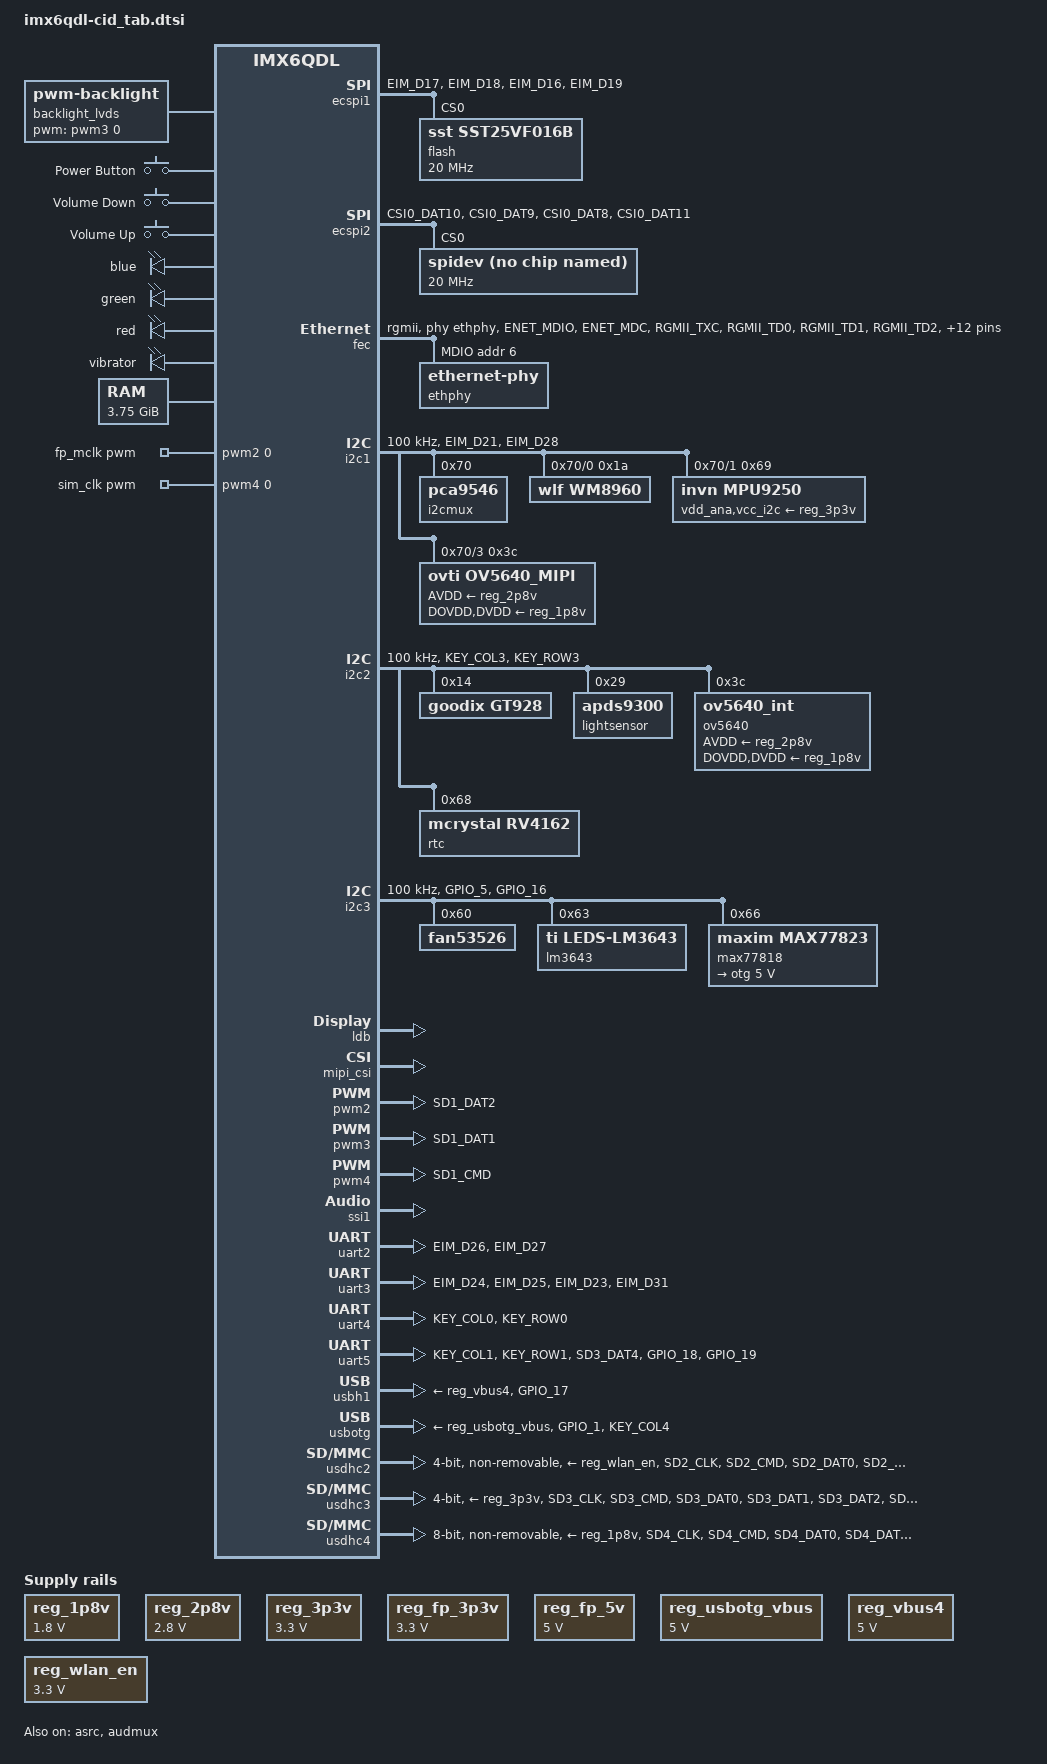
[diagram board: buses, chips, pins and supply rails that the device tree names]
/*
 * Copyright 2017 Boundary Devices, Inc.
 *
 * The code contained herein is licensed under the GNU General Public
 * License. You may obtain a copy of the GNU General Public License
 * Version 2 or later at the following locations:
 *
 * http://www.opensource.org/licenses/gpl-license.html
 * http://www.gnu.org/copyleft/gpl.html
 */
#include <dt-bindings/gpio/gpio.h>
#include <dt-bindings/input/input.h>

&iomuxc {
	pinctrl-names = "default";
	pinctrl-0 = <&pinctrl_hog>;

	iomuxc_imx6q_cid_tab: iomuxc-imx6q-cid_tabgrp {
		status = "okay";
	};
};

&iomuxc_imx6q_cid_tab {

	/* Goes to the WM8960 */
	pinctrl_audmux3: audmux3grp {
		fsl,pins = <
			MX6QDL_PAD_CSI0_DAT4__AUD3_TXC		0x130b0
			MX6QDL_PAD_CSI0_DAT5__AUD3_TXD		0x110b0
			MX6QDL_PAD_CSI0_DAT6__AUD3_TXFS		0x130b0
			MX6QDL_PAD_CSI0_DAT7__AUD3_RXD		0x130b0
		>;
	};

	/* Goes to the WWAN USB Modem */
	pinctrl_audmux4: audmux4grp {
		fsl,pins = <
			MX6QDL_PAD_DISP0_DAT20__AUD4_TXC	0x130b0
			MX6QDL_PAD_DISP0_DAT21__AUD4_TXD	0x110b0
			MX6QDL_PAD_DISP0_DAT22__AUD4_TXFS	0x130b0
			MX6QDL_PAD_DISP0_DAT23__AUD4_RXD	0x130b0
		>;
	};

	pinctrl_backlight_lvds: backlight-lvdsgrp {
		fsl,pins = <
#define GP_BACKLIGHT_LVDS_EN	<&gpio1 2 GPIO_ACTIVE_HIGH>
			MX6QDL_PAD_GPIO_2__GPIO1_IO02		0x030b0
#define GP_BACKLIGHT_LVDS_PWM1	<&gpio1 21 GPIO_ACTIVE_HIGH>
			MX6QDL_PAD_SD1_DAT3__GPIO1_IO21		0x030b0
#define GP_LVDS_LED_EN		<&gpio4 19 GPIO_ACTIVE_HIGH>
			MX6QDL_PAD_DI0_PIN3__GPIO4_IO19		0x030b0
#define GP_LVDS_BIST		<&gpio5 9 GPIO_ACTIVE_HIGH>
			MX6QDL_PAD_DISP0_DAT15__GPIO5_IO09	0x030b0
		>;
	};

	pinctrl_bt_rfkill: bt-rfkillgrp {
		fsl,pins = <
#define GP_BT_RFKILL_RESET	<&gpio6 16 GPIO_ACTIVE_LOW>
			MX6QDL_PAD_NANDF_CS3__GPIO6_IO16	0x030b0
		>;
	};

	pinctrl_ecspi1: ecspi1grp {
		fsl,pins = <
			MX6QDL_PAD_EIM_D17__ECSPI1_MISO		0x100b1
			MX6QDL_PAD_EIM_D18__ECSPI1_MOSI		0x100b1
			MX6QDL_PAD_EIM_D16__ECSPI1_SCLK		0x000b1
#define GP_ECSPI1_NOR_CS	<&gpio3 19 GPIO_ACTIVE_LOW>
			MX6QDL_PAD_EIM_D19__GPIO3_IO19		0x0b0b1
		>;
	};

	pinctrl_ecspi2: ecspi2grp {
		fsl,pins = <
			MX6QDL_PAD_CSI0_DAT10__ECSPI2_MISO	0x100b1
			MX6QDL_PAD_CSI0_DAT9__ECSPI2_MOSI	0x100b1
			MX6QDL_PAD_CSI0_DAT8__ECSPI2_SCLK	0x000b1
#define GP_ECSPI2_CS		<&gpio5 29 GPIO_ACTIVE_LOW>
			MX6QDL_PAD_CSI0_DAT11__GPIO5_IO29	0x0b0b1
		>;
	};

	pinctrl_enet: enetgrp {
		fsl,pins = <
			MX6QDL_PAD_ENET_MDIO__ENET_MDIO		0x1b0b0
			MX6QDL_PAD_ENET_MDC__ENET_MDC		0x1b0b0
			MX6QDL_PAD_RGMII_TXC__RGMII_TXC		0x100b0
			MX6QDL_PAD_RGMII_TD0__RGMII_TD0		0x100b0
			MX6QDL_PAD_RGMII_TD1__RGMII_TD1		0x100b0
			MX6QDL_PAD_RGMII_TD2__RGMII_TD2		0x100b0
			MX6QDL_PAD_RGMII_TD3__RGMII_TD3		0x100b0
			MX6QDL_PAD_RGMII_TX_CTL__RGMII_TX_CTL	0x100b0
			MX6QDL_PAD_ENET_REF_CLK__ENET_TX_CLK	0x100b0
			MX6QDL_PAD_RGMII_RXC__RGMII_RXC		0x1b0b0
			MX6QDL_PAD_RGMII_RD0__RGMII_RD0		0x1b0b0
			MX6QDL_PAD_RGMII_RD1__RGMII_RD1		0x1b0b0
			MX6QDL_PAD_RGMII_RD2__RGMII_RD2		0x1b0b0
			MX6QDL_PAD_RGMII_RD3__RGMII_RD3		0x1b0b0
			MX6QDL_PAD_RGMII_RX_CTL__RGMII_RX_CTL	0x1b0b0
#define GP_RGMII_PHY_RESET	<&gpio1 27 GPIO_ACTIVE_LOW>
			MX6QDL_PAD_ENET_RXD0__GPIO1_IO27	0x030b0
#define GPIRQ_ENET_PHY		<&gpio1 28 IRQ_TYPE_LEVEL_LOW>
			MX6QDL_PAD_ENET_TX_EN__GPIO1_IO28	0x1b0b0
#define GPIRQ_ENET		<&gpio1 6 IRQ_TYPE_LEVEL_HIGH>
			MX6QDL_PAD_GPIO_6__ENET_IRQ		0x000b1
		>;
	};

	pinctrl_gpio_keys: gpio-keysgrp {
		fsl,pins = <
#define GP_GPIOKEY_POWER	<&gpio3 1 GPIO_ACTIVE_LOW>
			MX6QDL_PAD_EIM_DA1__GPIO3_IO01		0x1b0b0
#define GP_GPIOKEY_VOL_DN	<&gpio3 5 GPIO_ACTIVE_LOW>
			MX6QDL_PAD_EIM_DA5__GPIO3_IO05		0x1b0b0
#define GP_GPIOKEY_VOL_UP	<&gpio3 6 GPIO_ACTIVE_LOW>
			MX6QDL_PAD_EIM_DA6__GPIO3_IO06		0x1b0b0
		>;
	};

	pinctrl_hog: hoggrp {
		fsl,pins = <
#define GP_GPIO_A		<&gpio3 20 GPIO_ACTIVE_HIGH>
			MX6QDL_PAD_EIM_D20__GPIO3_IO20		0x1b0b0
#define GP_GPIO_B		<&gpio4 21 GPIO_ACTIVE_HIGH>
			MX6QDL_PAD_DISP0_DAT0__GPIO4_IO21	0x1b0b0
			/* WWAN 3.7V Regulator */
#define GP_3P7_EN		<&gpio5 11 GPIO_ACTIVE_HIGH>
			MX6QDL_PAD_DISP0_DAT17__GPIO5_IO11	0x1b0b0
#define GP_3P7_BYPASS_EN	<&gpio5 0 GPIO_ACTIVE_HIGH>
			MX6QDL_PAD_EIM_WAIT__GPIO5_IO00		0x1b0b0

#define GPIRQ_TAMPER		<&gpio4 18 GPIO_ACTIVE_LOW>
			MX6QDL_PAD_DI0_PIN2__GPIO4_IO18		0x1b0b0
			/* TODO Wireless control pins */
#define GP_BT_CLK_REQ		<&gpio6 8 GPIO_ACTIVE_LOW>
			MX6QDL_PAD_NANDF_ALE__GPIO6_IO08	0x1b0b0
#define GP_BT_HOST_WAKE		<&gpio6 7 GPIO_ACTIVE_LOW>
			MX6QDL_PAD_NANDF_CLE__GPIO6_IO07	0x1b0b0
#define GP_WIFI_QOW		<&gpio2 3 GPIO_ACTIVE_LOW>
			MX6QDL_PAD_NANDF_D3__GPIO2_IO03		0x1b0b0
			/* TP68 */
			MX6QDL_PAD_NANDF_D0__GPIO2_IO00		0x1b0b0	
			/* TP71 */
			MX6QDL_PAD_ENET_TXD0__GPIO1_IO30	0x1b0b0
			/* TP72 */
			MX6QDL_PAD_NANDF_D4__GPIO2_IO04		0x1b0b0
			/* TP73 */
			MX6QDL_PAD_NANDF_D2__GPIO2_IO02		0x1b0b0
			/* TP74 */
			MX6QDL_PAD_NANDF_D7__GPIO2_IO07		0x1b0b0
			/* TP78 */
			MX6QDL_PAD_NANDF_WP_B__GPIO6_IO09	0x1b0b0
			/* TP85 */
			MX6QDL_PAD_GPIO_9__GPIO1_IO09		0x1b0b0
			/* TP86 */
			MX6QDL_PAD_DISP0_DAT10__GPIO4_IO31	0x1b0b0
			/* TP90 */
			MX6QDL_PAD_DI0_PIN15__GPIO4_IO17	0x1b0b0
			/* TP91 */
			MX6QDL_PAD_SD1_DAT0__GPIO1_IO16		0x1b0b0
			/* TP92 */
			MX6QDL_PAD_DI0_PIN4__GPIO4_IO20		0x1b0b0
			/* TP97 */
			MX6QDL_PAD_EIM_EB2__GPIO2_IO30		0x1b0b0
			/* TP104 */
			MX6QDL_PAD_EIM_DA7__GPIO3_IO07		0x1b0b0
			/* TP131 */
			MX6QDL_PAD_EIM_A25__GPIO5_IO02		0x1b0b0
			/* TP_R368 */
			MX6QDL_PAD_EIM_D30__GPIO3_IO30		0x1b0b0
		>;
	};

	pinctrl_i2c1: i2c1grp {
		fsl,pins = <
			MX6QDL_PAD_EIM_D21__I2C1_SCL		0x4001b8b1
			MX6QDL_PAD_EIM_D28__I2C1_SDA		0x4001b8b1
		>;
	};

	pinctrl_i2c1_pca9546: i2c1_pca9546grp {
		fsl,pins = <
			/* Select addr 0x70 for pca9546 */
			MX6QDL_PAD_EIM_DA15__GPIO3_IO15		0x030b0
			MX6QDL_PAD_EIM_DA14__GPIO3_IO14		0x030b0
#define GP_I2C1MUX_RESET	<&gpio3 13 GPIO_ACTIVE_LOW>
			MX6QDL_PAD_EIM_DA13__GPIO3_IO13		0x030b0
		>;
	};

	pinctrl_i2c1a_wm8960: i2c1a-wm8960grp {
		fsl,pins = <
			MX6QDL_PAD_GPIO_0__CCM_CLKO1		0x000b0
#define GP_WM8960_MIC_DET		<&gpio7 8 GPIO_ACTIVE_LOW>
			MX6QDL_PAD_SD3_RST__GPIO7_IO08		0x1b0b0
#define GP_WM8960_HP_DET		<&gpio4 10 GPIO_ACTIVE_LOW>
			MX6QDL_PAD_KEY_COL2__GPIO4_IO10		0x1b0b0
		>;
	};

	pinctrl_i2c1b_mpu9250: i2c1b_mpu9250grp {
		fsl,pins = <
#define GPIRQ_MPU9250_INT	<&gpio6 11 IRQ_TYPE_LEVEL_LOW>
			MX6QDL_PAD_NANDF_CS0__GPIO6_IO11	0x1b0b0
		>;
	};

	pinctrl_i2c1c_finger_sensor: i2c1-finger-sensorgrp {
		fsl,pins = <
			MX6QDL_PAD_CSI0_DAT12__IPU1_CSI0_DATA12		0x1b0b0
			MX6QDL_PAD_CSI0_DAT13__IPU1_CSI0_DATA13		0x1b0b0
			MX6QDL_PAD_CSI0_DAT14__IPU1_CSI0_DATA14		0x1b0b0
			MX6QDL_PAD_CSI0_DAT15__IPU1_CSI0_DATA15		0x1b0b0
			MX6QDL_PAD_CSI0_DAT16__IPU1_CSI0_DATA16		0x1b0b0
			MX6QDL_PAD_CSI0_DAT17__IPU1_CSI0_DATA17		0x1b0b0
			MX6QDL_PAD_CSI0_DAT18__IPU1_CSI0_DATA18		0x1b0b0
			MX6QDL_PAD_CSI0_DAT19__IPU1_CSI0_DATA19		0x1b0b0
			MX6QDL_PAD_CSI0_DATA_EN__IPU1_CSI0_DATA_EN	0x1b0b0
			MX6QDL_PAD_CSI0_PIXCLK__IPU1_CSI0_PIXCLK	0x1b0b0
			MX6QDL_PAD_CSI0_MCLK__IPU1_CSI0_HSYNC		0x1b0b0
			MX6QDL_PAD_CSI0_VSYNC__IPU1_CSI0_VSYNC		0x1b0b0
#define GP_FP_RESET_N	<&gpio1 8 GPIO_ACTIVE_LOW>
			MX6QDL_PAD_GPIO_8__GPIO1_IO08			0x0b0b0
#define GP_FP_SENSOR_STAT	<&gpio2 27 GPIO_ACTIVE_HIGH>
			MX6QDL_PAD_EIM_LBA__GPIO2_IO27			0x0b0b0
#define GP_FP_LE_EN		<&gpio2 26 GPIO_ACTIVE_HIGH>
			MX6QDL_PAD_EIM_RW__GPIO2_IO26			0x0b0b0
		>;
	};

	pinctrl_i2c1d_ov5640_mipi: i2c1d-ov5640-mipigrp {
		fsl,pins = <
			MX6QDL_PAD_GPIO_3__CCM_CLKO2		0x000b0
#define GP_OV5640_MIPI_POWER_DOWN	<&gpio6 10 GPIO_ACTIVE_HIGH>
			MX6QDL_PAD_NANDF_RB0__GPIO6_IO10	0x0b0b0
#define GP_OV5640_MIPI_RESET		<&gpio2 5 GPIO_ACTIVE_LOW>
			MX6QDL_PAD_NANDF_D5__GPIO2_IO05		0x030b0
		>;
	};

	pinctrl_i2c2: i2c2grp {
		fsl,pins = <
			MX6QDL_PAD_KEY_COL3__I2C2_SCL		0x4001b8b1
			MX6QDL_PAD_KEY_ROW3__I2C2_SDA		0x4001b8b1
		>;
	};

	pinctrl_i2c2_gt928: i2c2_gt928grp {
		fsl,pins = <
#define GPIRQ_GT928		<&gpio4 15 IRQ_TYPE_LEVEL_HIGH>
#define GP_GT928_IRQ		<&gpio4 15 GPIO_ACTIVE_HIGH>
			MX6QDL_PAD_KEY_ROW4__GPIO4_IO15		0x030b0
#define GP_GT928_RESET		<&gpio1 7 GPIO_ACTIVE_HIGH>
			MX6QDL_PAD_GPIO_7__GPIO1_IO07		0x030b0
		>;
	};

	pinctrl_i2c2_lightsensor: i2c2-lightsensorgrp {
		fsl,pins = <
#define GPIRQ_LIGHTSENSOR	<&gpio3 0 IRQ_TYPE_LEVEL_HIGH>
			MX6QDL_PAD_EIM_DA0__GPIO3_IO00		0x1b0b0
		>;
	};

	pinctrl_i2c2_rtc: i2c2-rtcgrp {
		fsl,pins = <
#define GPIRQ_RTC	<&gpio1 4 IRQ_TYPE_LEVEL_LOW>
			MX6QDL_PAD_GPIO_4__GPIO1_IO04		0x1b0b0
		>;
	};

	pinctrl_i2c3: i2c3grp {
		fsl,pins = <
			MX6QDL_PAD_GPIO_5__I2C3_SCL		0x4001b8b1
			MX6QDL_PAD_GPIO_16__I2C3_SDA		0x4001b8b1
		>;
	};

	pinctrl_i2c3_lm3643: i2c3_lm3643grp {
		fsl,pins = <
#define GP_FLASH_STROBE		<&gpio2 31 GPIO_ACTIVE_HIGH>
			MX6QDL_PAD_EIM_EB3__GPIO2_IO31		0x0b0b0
#define GP_FLASH_HW_EN		<&gpio5 6 GPIO_ACTIVE_HIGH>
			MX6QDL_PAD_DISP0_DAT12__GPIO5_IO06	0x0b0b0
#define GP_TORCH_EN		<&gpio5 5 GPIO_ACTIVE_HIGH>
			MX6QDL_PAD_DISP0_DAT11__GPIO5_IO05	0x0b0b0
#define GP_FLASH_TX		<&gpio4 30 GPIO_ACTIVE_HIGH>
			MX6QDL_PAD_DISP0_DAT9__GPIO4_IO30	0x0b0b0
		>;
	};

	pinctrl_i2c3_max77818: i2c3_max77818grp {
		fsl,pins = <
#define GPIRQ_MAX77818_INOK	<&gpio5 13 IRQ_TYPE_LEVEL_LOW>
			MX6QDL_PAD_DISP0_DAT19__GPIO5_IO13	0x1b0b0
#define GPIRQ_MAX77818_WCINOK	<&gpio3 2 IRQ_TYPE_LEVEL_LOW>
			MX6QDL_PAD_EIM_DA2__GPIO3_IO02		0x1b0b0
#define GPIRQ_MAX77818		<&gpio3 4 IRQ_TYPE_LEVEL_LOW>
			MX6QDL_PAD_EIM_DA4__GPIO3_IO04		0x1b0b0
		>;
	};

	pinctrl_leds: ledsgrp {
		fsl,pins = <
#define GP_LED_VIBRATOR		<&gpio5 8 GPIO_ACTIVE_HIGH>
			MX6QDL_PAD_DISP0_DAT14__GPIO5_IO08	0x030b0
			/* Blue Led */
#define GP_STAT_LED1		<&gpio4 26 GPIO_ACTIVE_LOW>
			MX6QDL_PAD_DISP0_DAT5__GPIO4_IO26	0x1b0b0
			/* Green Led */
#define GP_STAT_LED2		<&gpio4 25 GPIO_ACTIVE_LOW>
			MX6QDL_PAD_DISP0_DAT4__GPIO4_IO25	0x1b0b0
			/* Red Led */
#define GP_STAT_LED3		<&gpio4 27 GPIO_ACTIVE_LOW>
			MX6QDL_PAD_DISP0_DAT6__GPIO4_IO27	0x1b0b0
		>;
	};

	/* Fingerprint MCLK */
	pinctrl_pwm2: pwm2grp {
		fsl,pins = <
			MX6QDL_PAD_SD1_DAT2__PWM2_OUT		0x030b1
		>;
	};

	/* Backlight (LVDS display)*/
	pinctrl_pwm3: pwm3grp {
		fsl,pins = <
			MX6QDL_PAD_SD1_DAT1__PWM3_OUT		0x030b0
		>;
	};

	pinctrl_pwm4: pwm4grp {
		fsl,pins = <
			MX6QDL_PAD_SD1_CMD__PWM4_OUT		0x030b1
		>;
	};

	pinctrl_reg_2p8v: reg-2p8vgrp {
		fsl,pins = <
#define GP_REG_2P8V_EN	<&gpio3 9 GPIO_ACTIVE_HIGH>
			MX6QDL_PAD_EIM_DA9__GPIO3_IO09		0x030b0
		>;
	};

	pinctrl_reg_fp_3p3v: reg-fp-3p3grp {
		fsl,pins = <
#define GP_REG_FP_3P3V_EN	<&gpio3 29 GPIO_ACTIVE_HIGH>
			MX6QDL_PAD_EIM_D29__GPIO3_IO29		0x030b0
		>;
	};

	pinctrl_reg_fp_5v: reg-fp-5vgrp {
		fsl,pins = <
#define GP_REG_FP_5V_EN	<&gpio6 31 GPIO_ACTIVE_HIGH>
			MX6QDL_PAD_EIM_BCLK__GPIO6_IO31		0x030b0
		>;
	};

	pinctrl_reg_usbotg_vbus: reg-usbotg-vbusgrp {
		fsl,pins = <
#define GP_REG_USBOTG	<&gpio3 22 GPIO_ACTIVE_HIGH>
			MX6QDL_PAD_EIM_D22__GPIO3_IO22		0x030b0
		>;
	};

	pinctrl_reg_vbus4: reg-vbus4grp {
		fsl,pins = <
#define GP_REG_VBUS4	<&gpio4 11 GPIO_ACTIVE_HIGH>
			MX6QDL_PAD_KEY_ROW2__GPIO4_IO11		0x030b0
		>;
	};

	pinctrl_reg_wlan_en: reg-wlan-engrp {
		fsl,pins = <
#define GP_REG_WLAN_EN	<&gpio6 15 GPIO_ACTIVE_HIGH>
			MX6QDL_PAD_NANDF_CS2__GPIO6_IO15	0x030b0
		>;
	};

	pinctrl_uart1: uart1grp {
		fsl,pins = <
			MX6QDL_PAD_SD3_DAT7__UART1_TX_DATA	0x1b0b1
			MX6QDL_PAD_SD3_DAT6__UART1_RX_DATA	0x1b0b1
		>;
	};

	pinctrl_uart2: uart2grp {
		fsl,pins = <
			MX6QDL_PAD_EIM_D26__UART2_TX_DATA	0x1b0b1
			MX6QDL_PAD_EIM_D27__UART2_RX_DATA	0x1b0b1
		>;
	};

	pinctrl_uart3: uart3grp {
		fsl,pins = <
			MX6QDL_PAD_EIM_D24__UART3_TX_DATA	0x1b0b1
			MX6QDL_PAD_EIM_D25__UART3_RX_DATA	0x1b0b1
			MX6QDL_PAD_EIM_D23__UART3_CTS_B		0x1b0b1
			MX6QDL_PAD_EIM_D31__UART3_RTS_B		0x1b0b1
		>;
	};

	pinctrl_uart4: uart4grp {
		fsl,pins = <
			MX6QDL_PAD_KEY_COL0__UART4_TX_DATA	0x1b0b1
			MX6QDL_PAD_KEY_ROW0__UART4_RX_DATA	0x1b0b1
		>;
	};

	pinctrl_uart5: uart5grp {
		fsl,pins = <
			MX6QDL_PAD_KEY_COL1__UART5_TX_DATA	0x1b0b1
			MX6QDL_PAD_KEY_ROW1__UART5_RX_DATA	0x1b0b1
			/* GPS - MAX-7W */
#define GP_GPS_HEARTBEAT	<&gpio7 1 GPIO_ACTIVE_HIGH>
			MX6QDL_PAD_SD3_DAT4__GPIO7_IO01		0x1b0b0
#define GP_GPS_INT		<&gpio7 13 GPIO_ACTIVE_LOW>
			MX6QDL_PAD_GPIO_18__GPIO7_IO13		0x0b0b0
#define GP_GPS_RESET		<&gpio4 5 GPIO_ACTIVE_HIGH>
			MX6QDL_PAD_GPIO_19__GPIO4_IO05		0x030b0
		>;
	};

	pinctrl_usbh1: usbh1grp {
		fsl,pins = <
#define GP_USBH1_HUB_RESET	<&gpio7 12 GPIO_ACTIVE_LOW>
			MX6QDL_PAD_GPIO_17__GPIO7_IO12		0x030b0
		>;
	};

	pinctrl_usbotg: usbotggrp {
		fsl,pins = <
			MX6QDL_PAD_GPIO_1__USB_OTG_ID		0x17059
			MX6QDL_PAD_KEY_COL4__USB_OTG_OC		0x130b0
		>;
	};

	/* Wifi */
	pinctrl_usdhc2: usdhc2grp {
		fsl,pins = <
			MX6QDL_PAD_SD2_CLK__SD2_CLK		0x10071
			MX6QDL_PAD_SD2_CMD__SD2_CMD		0x17071
			MX6QDL_PAD_SD2_DAT0__SD2_DATA0		0x17071
			MX6QDL_PAD_SD2_DAT1__SD2_DATA1		0x17071
			MX6QDL_PAD_SD2_DAT2__SD2_DATA2		0x17071
			MX6QDL_PAD_SD2_DAT3__SD2_DATA3		0x17071
#define GPIRQ_WLAN	<&gpio6 14 IRQ_TYPE_LEVEL_HIGH>
			MX6QDL_PAD_NANDF_CS1__GPIO6_IO14	0x100b0
#define GP_WIFI_WAKE	<&gpio2 1 GPIO_ACTIVE_HIGH>
			MX6QDL_PAD_NANDF_D1__GPIO2_IO01		0x1b0b0
			MX6QDL_PAD_SD1_CLK__OSC32K_32K_OUT	0x000b0		/* slow clock */
		>;
	};

	pinctrl_usdhc2_100mhz: usdhc2grp-100mhz {
		fsl,pins = <
			MX6QDL_PAD_SD2_CLK__SD2_CLK		0x100B9
			MX6QDL_PAD_SD2_CMD__SD2_CMD		0x170B9
			MX6QDL_PAD_SD2_DAT0__SD2_DATA0		0x170B9
			MX6QDL_PAD_SD2_DAT1__SD2_DATA1 		0x170B9
			MX6QDL_PAD_SD2_DAT2__SD2_DATA2 		0x170B9
			MX6QDL_PAD_SD2_DAT3__SD2_DATA3 		0x170B9
		>;
	};

	pinctrl_usdhc2_200mhz: usdhc2grp-200mhz {
		fsl,pins = <
			MX6QDL_PAD_SD2_CLK__SD2_CLK 		0x100F9
			MX6QDL_PAD_SD2_CMD__SD2_CMD		0x170F9
			MX6QDL_PAD_SD2_DAT0__SD2_DATA0		0x170F9
			MX6QDL_PAD_SD2_DAT1__SD2_DATA1 		0x170F9
			MX6QDL_PAD_SD2_DAT2__SD2_DATA2 		0x170F9
			MX6QDL_PAD_SD2_DAT3__SD2_DATA3 		0x170F9
		>;
	};

	pinctrl_usdhc3: usdhc3grp {
		fsl,pins = <
			MX6QDL_PAD_SD3_CLK__SD3_CLK		0x10059
			MX6QDL_PAD_SD3_CMD__SD3_CMD		0x17059
			MX6QDL_PAD_SD3_DAT0__SD3_DATA0		0x17059
			MX6QDL_PAD_SD3_DAT1__SD3_DATA1		0x17059
			MX6QDL_PAD_SD3_DAT2__SD3_DATA2		0x17059
			MX6QDL_PAD_SD3_DAT3__SD3_DATA3		0x17059
#define GP_USDHC3_CD	<&gpio7 0 GPIO_ACTIVE_LOW>
			MX6QDL_PAD_SD3_DAT5__GPIO7_IO00		0x1b0b0
		>;
	};

	pinctrl_usdhc4: usdhc4grp {
		fsl,pins = <
			MX6QDL_PAD_SD4_CLK__SD4_CLK		0x10059
			MX6QDL_PAD_SD4_CMD__SD4_CMD		0x17059
			MX6QDL_PAD_SD4_DAT0__SD4_DATA0		0x17059
			MX6QDL_PAD_SD4_DAT1__SD4_DATA1		0x17059
			MX6QDL_PAD_SD4_DAT2__SD4_DATA2		0x17059
			MX6QDL_PAD_SD4_DAT3__SD4_DATA3		0x17059
			MX6QDL_PAD_SD4_DAT4__SD4_DATA4		0x17059
			MX6QDL_PAD_SD4_DAT5__SD4_DATA5		0x17059
			MX6QDL_PAD_SD4_DAT6__SD4_DATA6		0x17059
			MX6QDL_PAD_SD4_DAT7__SD4_DATA7		0x17059
#define GP_EMMC_RESET		<&gpio2 6 GPIO_ACTIVE_LOW>
			MX6QDL_PAD_NANDF_D6__GPIO2_IO06		0x1b0b0
		>;
	};

	pinctrl_wwan_rfkill: wwan_rfkillgrp {
		fsl,pins = <
			/* HL7588 - Modem pins */
#define GP_MODEM_RESET		<&gpio4 23 GPIO_ACTIVE_LOW>
			MX6QDL_PAD_DISP0_DAT2__GPIO4_IO23	0x030b0
/*
 * This signal can only turn the modem on,
 * pull low for 2 seconds, then release,
 * when signal goes low again, the device is ready.
 * Use AT*PSCPOF to power off.
 */
#define GP_MODEM_PULSE_ON	<&gpio4 29 GPIO_ACTIVE_LOW>
			MX6QDL_PAD_DISP0_DAT8__GPIO4_IO29	0x4001b8b0	/* Open drain, bidirectional signal */
#define GP_SLEEP_STAT		<&gpio4 22 GPIO_ACTIVE_HIGH>
			MX6QDL_PAD_DISP0_DAT1__GPIO4_IO22	0x1b0b0
#define GP_SIM_DETECT		<&gpio3 8 GPIO_ACTIVE_HIGH>
			MX6QDL_PAD_EIM_DA8__GPIO3_IO08		0x1b0b0
#define GP_SIM_IO		<&gpio5 10 GPIO_ACTIVE_HIGH>
			MX6QDL_PAD_DISP0_DAT16__GPIO5_IO10	0x1b0b0
		>;
	};
};

/ {
	aliases {
		backlight_lvds = &backlight_lvds;
		fb_lvds = &fb_lvds;
		ldb = &ldb;
		mmc0 = &usdhc3;
		mmc1 = &usdhc4;
		mmc2 = &usdhc2;
		mxcfb0 = &fb_lvds;
		pwm_lvds = &pwm3;
		t_lvds = &t_lvds;
	};

	backlight_lvds: backlight_lvds {
		brightness-levels = <0 1 2 3 4 5 6 7 8 9 10>;
		compatible = "pwm-backlight";
		default-brightness-level = <8>;
		display = <&fb_lvds>;
		enable-gpios = GP_BACKLIGHT_LVDS_EN, GP_BACKLIGHT_LVDS_PWM1, GP_LVDS_LED_EN;
		pinctrl-names = "default";
		pinctrl-0 = <&pinctrl_backlight_lvds>;
		pwms = <&pwm3 0 50000>;
	};

	bt_rfkill: bt_rfkill {
		compatible = "net,rfkill-gpio";
		name = "bt_rfkill";
		pinctrl-names = "default";
		pinctrl-0 = <&pinctrl_bt_rfkill>;
		reset-gpios = GP_BT_RFKILL_RESET;
		status = "okay";
		type = <2>;     /* bluetooth */
	};

	fb_lvds: fb@0 {
		compatible = "fsl,mxc_sdc_fb";
		default_bpp = <16>;
		disp_dev = "ldb";
		interface_pix_fmt = "RGB666";
		int_clk = <0>;
		late_init = <0>;
		status = "disabled";
	};

	gpio-keys {
		compatible = "gpio-keys";
		pinctrl-names = "default";
		pinctrl-0 = <&pinctrl_gpio_keys>;

		power {
			label = "Power Button";
			linux,code = <KEY_POWER>;
			gpios = GP_GPIOKEY_POWER;
			gpio-key,wakeup;
		};

		volume-down {
			label = "Volume Down";
			linux,code = <KEY_VOLUMEDOWN>;
			gpios = GP_GPIOKEY_VOL_DN;
		};

		volume-up {
			label = "Volume Up";
			linux,code = <KEY_VOLUMEUP>;
			gpios = GP_GPIOKEY_VOL_UP;
		};
	};

	leds: leds {
		compatible = "gpio-leds";
		pinctrl-names = "default";
		pinctrl-0 = <&pinctrl_leds>;

		blue {
			gpios = GP_STAT_LED1;
			default-state = "off";
		};

		green {
			gpios = GP_STAT_LED2;
			default-state = "off";
		};

		red {
			gpios = GP_STAT_LED3;
			default-state = "off";
		};

		vibrator {
			gpios = GP_LED_VIBRATOR;
			default-state = "off";
			linux,default-trigger = "transient";
		};
	};

	memory {
		reg = <0x10000000 0xeffffc00>;
	};

	fp_mclk: fp_mclk {
		compatible = "pwm-clock";
		#clock-cells = <0>;
		clock-frequency = <22000000>;
		clock-output-names = "fp_mclk";
		pwms = <&pwm2 0 45>; /* 1 / 45 ns = 22 MHz */
	};

	regulators {
		compatible = "simple-bus";
		#address-cells = <1>;
		#size-cells = <0>;

		reg_1p8v: regulator@0 {
			compatible = "regulator-fixed";
			reg = <0>;
			regulator-always-on;
			regulator-max-microvolt = <1800000>;
			regulator-min-microvolt = <1800000>;
			regulator-name = "1P8V";
		};

		reg_2p8v: regulator@1 {
			compatible = "regulator-fixed";
			enable-active-high;
			gpio = GP_REG_2P8V_EN;
			pinctrl-names = "default";
			pinctrl-0 = <&pinctrl_reg_2p8v>;
			reg = <1>;
			regulator-max-microvolt = <2800000>;
			regulator-min-microvolt = <2800000>;
			regulator-name = "2P8V";
			startup-delay-us = <2000>;
		};

		reg_3p3v: regulator@2 {
			compatible = "regulator-fixed";
			reg = <2>;
			regulator-always-on;
			regulator-max-microvolt = <3300000>;
			regulator-min-microvolt = <3300000>;
			regulator-name = "3P3V";
		};

		reg_fp_3p3v: regulator@3 {
			compatible = "regulator-fixed";
			enable-active-high;
			gpio = GP_REG_FP_3P3V_EN;
			pinctrl-names = "default";
			pinctrl-0 = <&pinctrl_reg_fp_3p3v>;
			reg = <3>;
			regulator-max-microvolt = <3300000>;
			regulator-min-microvolt = <3300000>;
			regulator-name = "csi_3p3vbus";
		};

		reg_fp_5v: regulator@4 {
			compatible = "regulator-fixed";
			enable-active-high;
			gpio = GP_REG_FP_5V_EN;
			pinctrl-names = "default";
			pinctrl-0 = <&pinctrl_reg_fp_5v>;
			reg = <4>;
			regulator-max-microvolt = <5000000>;
			regulator-min-microvolt = <5000000>;
			regulator-name = "csi_5vbus";
		};

		reg_usbotg_vbus: regulator@5 {
			compatible = "regulator-fixed";
			enable-active-high;
			gpio = GP_REG_USBOTG;
			pinctrl-names = "default";
			pinctrl-0 = <&pinctrl_reg_usbotg_vbus>;
			reg = <5>;
			regulator-max-microvolt = <5000000>;
			regulator-min-microvolt = <5000000>;
			regulator-name = "usb_otg_vbus";
		};

		reg_vbus4: regulator@6 {
			compatible = "regulator-fixed";
			enable-active-high;
			gpio = GP_REG_VBUS4;
			pinctrl-names = "default";
			pinctrl-0 = <&pinctrl_reg_vbus4>;
			reg = <6>;
			regulator-max-microvolt = <5000000>;
			regulator-min-microvolt = <5000000>;
			regulator-name = "vbus4";
		};

		reg_wlan_en: regulator@7 {
			compatible = "regulator-fixed";
			enable-active-high;
			gpio = GP_REG_WLAN_EN;
			pinctrl-names = "default";
			pinctrl-0 = <&pinctrl_reg_wlan_en>;
			reg = <7>;
			regulator-max-microvolt = <3300000>;
			regulator-min-microvolt = <3300000>;
			regulator-name = "wlan-en";
			startup-delay-us = <70000>;
		};
	};

	sim_clk: sim_clk {
		compatible = "pwm-clock";
		#clock-cells = <0>;
		clock-frequency = <2500000>;
		clock-output-names = "sim_clk";
		pwms = <&pwm4 0 400>; /* 1 / 400 ns = 2.5 MHz */
	};

	sound {
		compatible = "fsl,imx6q-cid-tab-wm8960",
			     "fsl,imx-audio-wm8960";
#ifdef USE_ASRC
		asrc-controller = <&asrc>;
#endif
		audio-codec = <&wm8960>;
		audio-routing =
			"Headphone Jack", "HP_L",
			"Headphone Jack", "HP_R",
			"Ext Spk", "SPK_RP",
			"Ext Spk", "SPK_RN",
			"LINPUT1", "Main MIC",
			"Main MIC", "MICB"
#ifdef USE_ASRC
			,"CPU-Playback", "ASRC-Playback",
			"Playback", "CPU-Playback",
			"ASRC-Capture", "CPU-Capture",
			"CPU-Capture", "Capture"
#endif
			;
		codec-master;
		cpu-dai = <&ssi1>;
		/* JD2: hp detect high for headphone*/
		hp-det = <2 0>;
		model = "wm8960-audio";
		mux-int-port = <1>;
		mux-ext-port = <3>;
	};

	/* finger_sensor */
	v4l2_cap_0 {
		compatible = "fsl,imx6q-v4l2-capture";
		csi_id = <0>;
		ipu_id = <0>;
		mclk_source = <0>;
		mipi_camera = <0>;
		status = "okay";
	};

	/* ov5640 */
	v4l2_cap_1: v4l2_cap_1 {
		compatible = "fsl,imx6q-v4l2-capture";
		csi_id = <1>;
		ipu_id = <0>;
		mclk_source = <0>;
		mipi_camera = <0>;
		status = "okay";
	};

	/* ov5640_mipi */
	v4l2_cap_2 {
		compatible = "fsl,imx6q-v4l2-capture";
		csi_id = <1>;
		ipu_id = <0>;
		mclk_source = <0>;
		mipi_camera = <1>;
		status = "okay";
	};

	v4l2_out {
		compatible = "fsl,mxc_v4l2_output";
		status = "okay";
	};

	wwan_rfkill: wwan_rfkill {
		compatible = "net,rfkill-gpio";
		name = "wwan_rfkill";
		pinctrl-names = "default";
		pinctrl-0 = <&pinctrl_wwan_rfkill>;
		pulse-duration = <2000>;
		pulse-on-gpios = GP_MODEM_PULSE_ON;
		reset-gpios = GP_MODEM_RESET;
		status = "okay";
		type = <5>;     /* WWAN */
	};
};

#ifdef USE_ASRC
&asrc {
	status = "okay";
};
#endif

&audmux {
	pinctrl-names = "default";
	pinctrl-0 = <&pinctrl_audmux3>, <&pinctrl_audmux4>;
	status = "okay";
};

&ecspi1 {
	cs-gpios = GP_ECSPI1_NOR_CS;
	fsl,spi-num-chipselects = <1>;
	pinctrl-names = "default";
	pinctrl-0 = <&pinctrl_ecspi1>;
	status = "okay";

	flash: m25p80@0 {
		compatible = "sst,sst25vf016b";
		reg = <0>;
		spi-max-frequency = <20000000>;
		#address-cells = <1>;
		#size-cells = <1>;
		mtd@00000000 {
			label = "U-Boot";
			reg = <0x0 0xC0000>;
		};

		mtd@000C0000 {
			label = "env";
			reg = <0xC0000 0x2000>;
		};
		mtd@000C2000 {
			label = "splash";
			reg = <0xC2000 0x13e000>;
		};
	};
};

&ecspi2 {
	cs-gpios = GP_ECSPI2_CS;
	fsl,spi-num-chipselects = <1>;
	pinctrl-names = "default";
	pinctrl-0 = <&pinctrl_ecspi2>;
	status = "okay";

	spidev@0 {
		compatible = "spidev";
		spi-max-frequency = <20000000>;
		reg = <0>;
	};
};

&fec {
	interrupts-extended = GPIRQ_ENET,
			      <&gpc 0 119 IRQ_TYPE_LEVEL_HIGH>;
	phy-handle = <&ethphy>;
	phy-mode = "rgmii";
#if 0
	phy-reset-gpios = GP_RGMII_PHY_RESET;
#endif
	pinctrl-names = "default";
	pinctrl-0 = <&pinctrl_enet>;
	status = "okay";

	mdio {
		#address-cells = <0>;
		#size-cells = <1>;

		ethphy: ethernet-phy@6 {
			interrupts-extended = GPIRQ_ENET_PHY;
			reg = <6>;
		};
	};
};

&i2c1 {
	clock-frequency = <100000>;
	pinctrl-names = "default";
	pinctrl-0 = <&pinctrl_i2c1>;
	status = "okay";

	i2cmux@70 {
		compatible = "pca9546";
		pinctrl-names = "default";
		pinctrl-0 = <&pinctrl_i2c1_pca9546>;
		reg = <0x70>;
		reset-gpios = GP_I2C1MUX_RESET;
		#address-cells = <1>;
		#size-cells = <0>;

		i2c1a: i2c1@0 {
			reg = <0>;
			#address-cells = <1>;
			#size-cells = <0>;
		};

		i2c1b: i2c1@1 {
			reg = <1>;
			#address-cells = <1>;
			#size-cells = <0>;
		};

		i2c1c: i2c1@2 {
			reg = <2>;
			#address-cells = <1>;
			#size-cells = <0>;
		};

		i2c1d: i2c1@3 {
			reg = <3>;
			#address-cells = <1>;
			#size-cells = <0>;
		};
	};

};

&i2c1a {
	wm8960: wm8960@1a {
		compatible = "wlf,wm8960";
		assigned-clocks =        <&clks IMX6QDL_CLK_CKO>;
		assigned-clock-parents = <&clks IMX6QDL_CLK_CKO2>;
		clock-names = "mclk";
		clocks = <&clks IMX6QDL_CLK_CKO>;
		pinctrl-names = "default";
		pinctrl-0 = <&pinctrl_i2c1a_wm8960>;
		reg = <0x1a>;
		wlf,shared-lrclk;
	};
};

&i2c1b {
	mpu9250@69 {
		compatible = "invn,mpu9250";
		axis_map_x = <1>;
		negate_x = <1>;
		axis_map_y = <0>;
		negate_y = <1>;
		axis_map_z = <2>;
		negate_z = <1>;
		interrupts-extended = GPIRQ_MPU9250_INT;
		inven,aux_type = "none";
		inven,secondary_type = "compass";
		inven,secondary_name = "ak8963";
		inven,secondary_reg = <0x0c>;
		inven,secondary_axis_map_x = <0>;
		inven,secondary_negate_x = <1>;
		inven,secondary_axis_map_y = <1>;
		inven,secondary_negate_y = <1>;
		inven,secondary_axis_map_z = <2>;
		inven,secondary_negate_z = <0>;
		inven,vdd_ana-supply = <&reg_3p3v>;
		inven,vcc_i2c-supply = <&reg_3p3v>;
		pinctrl-names = "default";
		pinctrl-0 = <&pinctrl_i2c1b_mpu9250>;
		reg = <0x69>;
	};
};

&i2c1c {
#if 1
	finger-sensor@33 {
		/* TODO */
		compatible = "dummy_i2c_device";
		c1-supply = <&reg_fp_3p3v>;
		c2-supply = <&reg_fp_5v>;
		clock-names = "fp_mclk";
		clocks = <&fp_mclk>;
		enable-gpios = GP_FP_LE_EN;
		pinctrl-names = "default";
		pinctrl-0 = <&pinctrl_i2c1c_finger_sensor>;
		/* not really 0x33, chose this to let i2cdetect probe the real addresses(0x37/0x60) */
		reg = <0x33>;
		reset-gpios = GP_FP_RESET_N;
	};
#endif
};

&i2c1d {
	ov5640_mipi: ov5640-mipi@3c {
		compatible = "ovti,ov5640_mipi";
		assigned-clocks = <&clks IMX6QDL_CLK_CKO2_SEL>;
		assigned-clock-parents = <&clks IMX6QDL_CLK_OSC>;
		AVDD-supply = <&reg_2p8v>;
		clock-names = "csi_mclk";
		clocks = <&clks IMX6QDL_CLK_CKO2>;
		csi_id = <1>;
		DOVDD-supply = <&reg_1p8v>;
		DVDD-supply = <&reg_1p8v>;
		ipu_id = <0>;
		mclk = <24000000>;
		mclk_source = <0>;
		pinctrl-names = "default";
		pinctrl-0 = <&pinctrl_i2c1d_ov5640_mipi>;
		pwn-gpios = GP_OV5640_MIPI_POWER_DOWN;
		reg = <0x3c>;
		rst-gpios = GP_OV5640_MIPI_RESET;
		mirror = <0>;
		vflip = <1>;
	};
};

&i2c2 {
	clock-frequency = <100000>;
	pinctrl-names = "default";
	pinctrl-0 = <&pinctrl_i2c2>;
	status = "okay";

	gt928@14 {
		compatible = "goodix,gt928";
		esd-recovery-timeout-ms = <2000>;
		interrupts-extended = GPIRQ_GT928;
		irq-gpios = GP_GT928_IRQ;
		pinctrl-names = "default";
		pinctrl-0 = <&pinctrl_i2c2_gt928>;
		reg = <0x14>;
		reset-gpios = GP_GT928_RESET;
		touchscreen-swapped-x-y;
	};

	lightsensor@29 {
		compatible = "apds9300";
		interrupts-extended = GPIRQ_LIGHTSENSOR;
		pinctrl-names = "default";
		pinctrl-0 = <&pinctrl_i2c2_lightsensor>;
		reg = <0x29>;
	};

	ov5640: ov5640@3c {
		compatible = "ov5640_int";
		AVDD-supply = <&reg_2p8v>;
		csi_id = <1>;
		clock-names = "csi_mclk";
		clocks = <&clks IMX6QDL_CLK_CKO2>;
		DOVDD-supply = <&reg_1p8v>;
		DVDD-supply = <&reg_1p8v>;
		mclk = <24000000>;
		mclk_source = <0>;
		pinctrl-names = "default";
		pinctrl-0 = <&pinctrl_i2c2_ov5640>;
		pwn-gpios = GP_OV5640_POWER_DOWN;
		reg = <0x3c>;
		rst-gpios = GP_OV5640_RESET;
		mirror = <0>;
		vflip = <1>;
	};

	rtc@68 {
		compatible = "mcrystal,rv4162";
		interrupts-extended = GPIRQ_RTC;
		pinctrl-names = "default";
		pinctrl-0 = <&pinctrl_i2c2_rtc>;
		reg = <0x68>;
	};
};

&i2c3 {
	clock-frequency = <100000>;
	pinctrl-names = "default";
	pinctrl-0 = <&pinctrl_i2c3>;
	status = "okay";

	/* VCC - 1.2V - VDDARM / VDDSOC */
	fan53526@60 {
		compatible = "fan53526";
		reg = <0x60>;
	};

	lm3643@63 {
		compatible = "ti,leds-lm3643";
		flash-gpios = GP_FLASH_TX;
		hwen-gpios = GP_FLASH_HW_EN;
		pinctrl-names = "default";
		pinctrl-0 = <&pinctrl_i2c3_lm3643>;
		reg = <0x63>;
		strobe-gpios = GP_FLASH_STROBE;
		torch-gpios = GP_TORCH_EN;
	};

	max77818@66 {
		compatible = "maxim,max77823";
		interrupts-extended = GPIRQ_MAX77818;
		max77823,irq-gpio = GPIRQ_MAX77818;
		max77823,wakeup = <1>;
		pinctrl-names = "default";
		pinctrl-0 = <&pinctrl_i2c3_max77818>;
		reg = <0x66>;

		max77823_battery: battery {
			compatible = "samsung,sec-battery";
		};

		max77823_charger: charger {
			compatible = "samsung,max77823-charger";
		};

		max77823_fuelgauge: fuelgauge {
			compatible = "samsung,max77823-fuelgauge";
		};
	};
};

&ldb {
	status = "okay";

	lvds-channel@0 {
		crtc = "ipu1-di1";
		fsl,data-mapping = "spwg";
		fsl,data-width = <18>;
		primary;
		status = "okay";

		display-timings {
			t_lvds: t_lvds_default {
				clock-frequency = <72000000>;
				hactive = <1280>;
				hback-porch = <48>;
				hfront-porch = <80>;
				hsync-len = <32>;
				vactive = <800>;
				vback-porch = <15>;
				vfront-porch = <2>;
				vsync-len = <6>;
			};
		};
	};
};

&max77823_battery {
	battery,adc_check_count = <6>;
	battery,bat_irq_attr = <0x3>;
	battery,battery_check_type = <6>; /* SEC_BATTERY_CHECK_INT */
	/* SEC_BATTERY_CABLE_CHECK_PSY | SEC_BATTERY_CABLE_CHECK_NOINCOMPATIBLECHARGE */
	battery,cable_check_type = <6>;
	battery,cable_source_type = <1>; /* SEC_BATTERY_CABLE_SOURCE_EXTERNAL */
	battery,charger_name = "max77823-charger";
	battery,charging_reset_time = <0>;
	battery,charging_total_time = <21600>;
	battery,check_adc_max = <1440>;
	battery,check_adc_min = <0>;
	battery,check_count = <0>;
	battery,chg_gpio_full_check = <0>;
	battery,chg_polarity_full_check = <1>;
	battery,chip_vendor = "QCOM";
	battery,event_check;
	battery,event_waiting_time = <600>;
	battery,fuelgauge_name = "max77823-fuelgauge";
	battery,full_check_count = <1>;
	battery,full_check_type = <7>; /* SEC_BATTERY_FULLCHARGED_CHGPSY */
	battery,full_check_type_2nd = <3>; /* SEC_BATTERY_FULLCHARGED_TIME */
	battery,full_condition_soc = <97>;
	/* SEC_BATTERY_FULL_CONDITION_SOC |
	   SEC_BATTERY_FULL_CONDITION_NOTIMEFULL |
	   SEC_BATTERY_FULL_CONDITION_VCELL */
	battery,full_condition_type = <13>;
	battery,full_condition_vcell = <4350000>;
	battery,monitor_initial_count = <3>;
	battery,ovp_uvlo_check_type = <3>; /* SEC_BATTERY_OVP_UVLO_CHGPOLLING */
	battery,polling_time = <10 30 30 30 3600>;
	battery,polling_type = <1>; /* SEC_BATTERY_MONITOR_ALARM */
	battery,recharge_check_count = <1>;
	battery,recharge_condition_soc = <98>;
	battery,recharge_condition_type = <4>; /* SEC_BATTERY_RECHARGE_CONDITION_VCELL */
	battery,recharge_condition_vcell = <4350000>;
	battery,recharging_total_time = <5400>;
	battery,technology = <2>; /* POWER_SUPPLY_TECHNOLOGY_LION */
	battery,temp_adc_type = <1>; /* SEC_BATTERY_ADC_TYPE_AP */
	battery,temp_check_count = <1>;
	battery,temp_check_type = <0>; /* SEC_BATTERY_TEMP_CHECK_NONE */
	battery,thermal_source = <0>; /* SEC_BATTERY_THERMAL_SOURCE_FG */
	battery,vendor = "SDI SDI";
	status = "okay";
};

&max77823_charger {
	battery,charger_name = "max77823-charger";
	battery,chg_float_voltage = <4400>;
	battery,chg_gpio_en = <0>;
	battery,chg_gpio_status = <0>;
	battery,chg_polarity_en = <0>;
	battery,chg_polarity_status = <0>;
	battery,fast_charging_current  = <2100   0  460 2100  460 1200 1000  460   0 1200 2100 2100 2100   0 1300  300  700 1300 1800  300   80 2100   0 1000 2800 1000 1000 2100>;
	battery,full_check_current_1st = <200    0  200  200  200  200  200  200   0  200  200  200  200   0  200  200  200  200  200  200  200  200   0  200  200  200  200  200>;
	battery,full_check_current_2nd = <2400   0 2400 2400 2400 2400 2400 2400   0 2400 2400 2400 2400   0 2400 2400 2400 2400 2400 2400 2400 2400   0 2400 2400 2400 2400 2400>;
	battery,full_check_type = <7>; /* SEC_BATTERY_FULLCHARGED_CHGPSY */
	battery,input_current_limit    = <1800 460  460 4000  460  900 1000  460 460 1000 4000 1800 1800 460 1300  300  700 1300 1800  300   80 1800 460 1000 1633 1000 1000 4000>;
	battery,ovp_uvlo_check_type = <4>; /* SEC_BATTERY_OVP_UVLO_CHGINT */
	boost = <1>;

	regulators {
		otg {
			regulator-min-microvolt = <5000000>;
			regulator-max-microvolt = <5000000>;
		};
	};
};

&max77823_fuelgauge {
	empty_detect_voltage = <2900>;
	empty_recovery_voltage = <3100>;
	fuelgauge,capacity_calculation_type = <0x17>;
	fuelgauge,capacity_mAh = <8000>;
	fuelgauge,capacity_max = <990>;
	fuelgauge,capacity_max_margin = <50>;
	fuelgauge,capacity_min = <0>;
	fuelgauge,fuel_alert_soc = <1>;
	temp-calibration = <0 (-6763) 9858>;
	/* if temp-calibration defined, temp-calibration-data not used */
	temp-calibration-data = <250 0x7cde
				 255 0x7c50
				 260 0x7aa0
				 265 0x792e
				 270 0x788e
				 275 0x7714
				 280 0x761a
				 285 0x7536
				 290 0x73ca
				 295 0x7326
				 300 0x726c
				 305 0x71cc
				 310 0x71b2
				 315 0x70a4
				 320 0x6f6a
				 325 0x6eae
				 330 0x6a2e
				 335 0x6800
				 340 0x673c
				 345 0x665a
				 350 0x65b4
				 355 0x6478
				 360 0x6318
				 365 0x6270
				 370 0x614e
				 375 0x5f56
				 380 0x5ed2
				 385 0x5d9e
				 390 0x5b38
				 395 0x5ae0
				 400 0x59ce
				 405 0x57b2
				 410 0x55f2
				 415 0x53c2
				 420 0x505a>;
	/* fuelgauge,repeated_fuelalert; */
	temp-disabled;
};

&mipi_csi {
	lanes = <2>;
	status = "okay";
};

&pwm2 {
	pinctrl-names = "default";
	pinctrl-0 = <&pinctrl_pwm2>;
	status = "okay";
};

&pwm3 {
	pinctrl-names = "default";
	pinctrl-0 = <&pinctrl_pwm3>;
	status = "okay";
};

&pwm4 {
	pinctrl-names = "default";
	pinctrl-0 = <&pinctrl_pwm4>;
	status = "okay";
};

&snvs_poweroff {
	status = "okay";
};

&ssi1 {
	fsl,mode = "i2s-slave";
	status = "okay";
};

&uart1 {
	/* TP138, TP139 */
	pinctrl-names = "default";
	pinctrl-0 = <&pinctrl_uart1>;
	status = "disabled";
};

&uart2 {
	/* J61, J65, pins 14, 15 */
	pinctrl-names = "default";
	pinctrl-0 = <&pinctrl_uart2>;
	status = "okay";
};

&uart3 {
	/* Bluetooth */
	fsl,uart-has-rtscts;
	pinctrl-names = "default";
	pinctrl-0 = <&pinctrl_uart3>;
	status = "okay";
};

&uart4 {
	/* J65, pins 10, 11 */
	pinctrl-names = "default";
	pinctrl-0 = <&pinctrl_uart4>;
	status = "okay";
};

&uart5 {
	/* GPS - max-7w */
	control-gpios = GP_GPS_RESET;
#define M_RESET		1
	off_levels = <0>;
	pinctrl-names = "default";
	pinctrl-0 = <&pinctrl_uart5>;
	rs232_levels = <M_RESET>;
	status = "okay";
};

&usbh1 {
	disable-over-current;
	pinctrl-names = "default";
	pinctrl-0 = <&pinctrl_usbh1>;
	reset-gpios = GP_USBH1_HUB_RESET;
	status = "okay";
	vbus-supply = <&reg_vbus4>;
};

&usbotg {
	disable-over-current;
	pinctrl-names = "default";
	pinctrl-0 = <&pinctrl_usbotg>;
	status = "okay";
	vbus-supply = <&reg_usbotg_vbus>;
};

&usdhc2 {
	bus-width = <4>;
	cap-power-off-card;
	keep-power-in-suspend;
	non-removable;
	pinctrl-names = "default", "state_100mhz", "state_200mhz";
	pinctrl-0 = <&pinctrl_usdhc2>;
	pinctrl-1 = <&pinctrl_usdhc2_100mhz>;
	pinctrl-2 = <&pinctrl_usdhc2_200mhz>;
	status = "okay";
	vmmc-supply = <&reg_wlan_en>;
	vqmmc-1-8-v;
};

&usdhc3 {
	bus-width = <4>;
	cd-gpios = GP_USDHC3_CD;
	pinctrl-names = "default";
	pinctrl-0 = <&pinctrl_usdhc3>;
	status = "okay";
	vmmc-supply = <&reg_3p3v>;
};

&usdhc4 {
	bus-width = <8>;
	keep-power-in-suspend;
	non-removable;
	pinctrl-names = "default";
	pinctrl-0 = <&pinctrl_usdhc4>;
	reset-gpios = GP_EMMC_RESET;
	status = "okay";
	vmmc-supply = <&reg_1p8v>;
	vqmmc-1-8-v;
};
